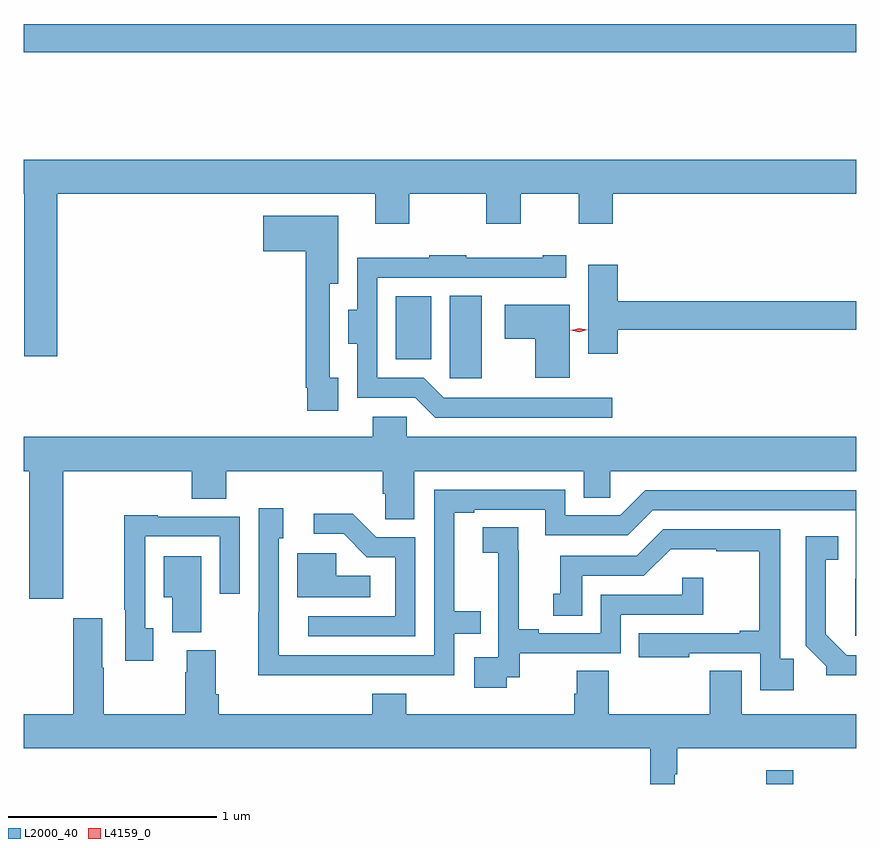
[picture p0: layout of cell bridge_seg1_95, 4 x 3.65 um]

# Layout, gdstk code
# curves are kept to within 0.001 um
import gdstk
lib = gdstk.Library(unit=1e-6, precision=1e-09)
def R(c, l, rs):  # rectangles x0, y0, x1, y1
    for r in rs: c.add(gdstk.rectangle(r[:2], r[2:], *l))
def P(c, l, *ps):  # polygons
    for p in ps: c.add(gdstk.Polygon(p, *l))
L2000_40 = (2000, 40)
L4159_0 = (4159, 0)

bridge_seg1_95 = lib.new_cell('bridge_seg1_95')
R(bridge_seg1_95, L2000_40, [(364.464,538.241,364.592,538.306), (362.942,540.191,363.097,540.587), (362.684,540.281,362.854,540.583), (360.896,541.756,364.896,541.892)])
P(bridge_seg1_95, L2000_40, [(361.058,541.076),(362.585,541.076),(362.585,540.933),(362.749,540.933),(362.749,541.076),(363.119,541.076),(363.119,540.933),(363.283,540.933),(363.283,541.076),(363.563,541.076),(363.563,540.933),(363.727,540.933),(363.727,541.076),(364.896,541.076),(364.896,541.24),(360.896,541.24),(360.896,541.076),(360.898,541.076),(360.898,540.297),(361.058,540.297)],
  [(362.407,540.193),(362.367,540.193),(362.367,540.644),(362.407,540.644),(362.407,540.97),(362.046,540.97),(362.046,540.8),(362.251,540.8),(362.251,540.145),(362.259,540.145),(362.259,540.033),(362.407,540.033)],
  [(363.724,540.096),(362.913,540.096),(362.817,540.192),(362.595,540.192),(362.595,540.672),(363.502,540.672),(363.502,540.781),(363.389,540.781),(363.389,540.769),(363.023,540.769),(363.023,540.781),(362.845,540.781),(362.845,540.769),(362.499,540.769),(362.499,540.52),(362.456,540.52),(362.456,540.356),(362.498,540.356),(362.498,540.096),(362.778,540.096),(362.874,540),(363.724,540)],
  [(363.749,540.424),(364.896,540.424),(364.896,540.56),(363.749,540.56),(363.749,540.736),(363.608,540.736),(363.608,540.309),(363.749,540.309)],
  [(363.52,540.544),(363.207,540.544),(363.207,540.38),(363.353,540.38),(363.353,540.192),(363.52,540.192)],
  [(361.087,539.744),(361.703,539.744),(361.703,539.611),(361.868,539.611),(361.868,539.744),(362.621,539.744),(362.621,539.635),(362.634,539.635),(362.634,539.512),(362.773,539.512),(362.773,539.744),(363.587,539.744),(363.587,539.617),(363.714,539.617),(363.714,539.744),(364.896,539.744),(364.896,539.908),(362.736,539.908),(362.736,540.006),(362.573,540.006),(362.573,539.908),(360.896,539.908),(360.896,539.744),(360.923,539.744),(360.923,539.13),(361.087,539.13)],
  [(362.486,538.764),(362.964,538.764),(362.964,538.962),(363.092,538.962),(363.092,539.071),(362.965,539.071),(362.965,539.544),(363.061,539.544),(363.061,539.559),(363.402,539.559),(363.402,539.436),(363.798,539.436),(363.918,539.556),(364.893,539.556),(364.892,538.953),(364.896,538.953),(364.896,539.652),(363.882,539.652),(363.762,539.532),(363.498,539.532),(363.498,539.655),(362.868,539.655),(362.868,538.86),(362.121,538.86),(362.121,539.421),(362.143,539.421),(362.143,539.566),(362.025,539.566),(362.024,538.763)],
  [(362.778,539.427),(362.589,539.427),(362.476,539.54),(362.289,539.54),(362.289,539.442),(362.433,539.442),(362.544,539.331),(362.682,539.331),(362.682,539.046),(362.262,539.046),(362.262,538.95),(362.778,538.95)],
  [(361.519,538.989),(361.479,538.989),(361.479,539.43),(361.839,539.43),(361.839,539.154),(361.935,539.154),(361.935,539.526),(361.539,539.526),(361.539,539.533),(361.378,539.533),(361.378,539.077),(361.383,539.077),(361.383,538.833),(361.519,538.833)],
  [(363.216,538.755),(363.278,538.755),(363.278,538.869),(363.765,538.869),(363.765,539.055),(364.16,539.055),(364.16,539.233),(364.059,539.233),(364.059,539.151),(363.669,539.151),(363.669,538.965),(363.37,538.965),(363.37,538.985),(363.274,538.985),(363.274,539.363),(363.272,539.363),(363.272,539.474),(363.102,539.474),(363.102,539.353),(363.176,539.353),(363.176,539.155),(363.177,539.155),(363.177,538.851),(363.06,538.851),(363.06,538.704),(363.216,538.704)],
  [(364.595,538.843),(364.53,538.843),(364.53,539.466),(363.969,539.466),(363.84,539.337),(363.473,539.337),(363.473,539.154),(363.44,539.154),(363.44,539.05),(363.58,539.05),(363.58,539.241),(363.876,539.241),(364.004,539.369),(364.223,539.369),(364.223,539.358),(364.429,539.358),(364.429,538.978),(364.337,538.978),(364.337,538.965),(363.85,538.965),(363.85,538.85),(364.093,538.85),(364.093,538.869),(364.434,538.869),(364.434,538.692),(364.595,538.692)],
  [(364.896,538.86),(364.851,538.86),(364.75,538.961),(364.75,539.318),(364.808,539.318),(364.808,539.431),(364.653,539.431),(364.653,538.906),(364.752,538.807),(364.752,538.763),(364.896,538.763)],
  [(362.56,539.242),(362.397,539.242),(362.397,539.349),(362.21,539.349),(362.21,539.138),(362.56,539.138)],
  [(361.75,539.335),(361.568,539.335),(361.568,539.138),(361.61,539.138),(361.61,538.969),(361.75,538.969)],
  [(364.024,538.289),(364.036,538.289),(364.036,538.412),(364.896,538.412),(364.896,538.576),(364.345,538.576),(364.345,538.784),(364.193,538.784),(364.193,538.576),(363.707,538.576),(363.707,538.784),(363.554,538.784),(363.554,538.674),(363.542,538.674),(363.542,538.576),(362.735,538.576),(362.735,538.675),(362.57,538.675),(362.57,538.576),(361.832,538.576),(361.832,538.672),(361.819,538.672),(361.819,538.884),(361.679,538.884),(361.679,538.778),(361.672,538.778),(361.672,538.576),(361.281,538.576),(361.281,538.799),(361.273,538.799),(361.273,539.038),(361.133,539.038),(361.133,538.576),(360.896,538.576),(360.896,538.412),(363.907,538.412),(363.907,538.241),(364.024,538.241)])
P(bridge_seg1_95, L4159_0, [(363.564,540.411),(363.524,540.421),(363.524,540.421),(363.524,540.421),(363.564,540.431),(363.604,540.422),(363.604,540.422),(363.604,540.422)])

lib.write_gds('bridge_seg1_95.gds')
